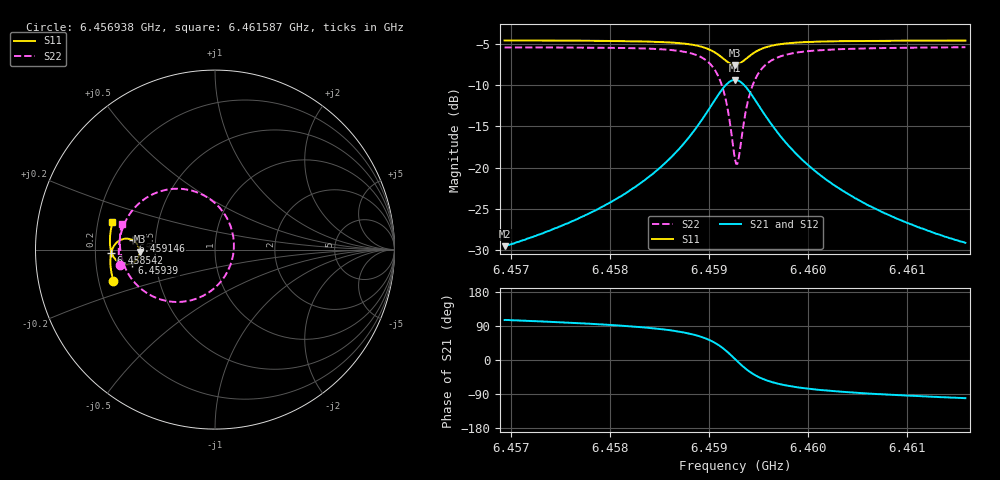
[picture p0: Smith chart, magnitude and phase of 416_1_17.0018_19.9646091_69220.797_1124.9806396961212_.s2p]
#  HZ  S  RI  R  50.00
! Rohde & Schwarz Vector Network Analyzer
! Rohde-Schwarz,ZNB20-2Port,1311601062101988,3.16
! Created: UTC 3/20/2024, 11:10:45 PM
! freq[Hz]  re:S11  im:S11  re:S21  im:S21  re:S12  im:S12  re:S22  im:S22
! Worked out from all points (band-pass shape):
!   401 points, 6.456938 GHz to 6.461587 GHz, reference 50 ohm
!   highest |S21| = -9.34 dB at 6.459263 GHz (marker M1); lowest = -29.6 dB at 6.456938 GHz (marker M2)
!   |S21| within 3 dB of the highest: 6.45903 GHz to 6.459495 GHz (465.1 kHz wide, 0.0072 % of centre)
!   lowest |S11| = -7.5 dB at 6.459263 GHz (marker M3), VSWR 2.45, Z = 20.4 - j0.544 ohm
!   |S11| at or under -10 dB: nowhere
!   |S22| runs from -19.6 to -5.4 dB; largest |S21 - S12| = 0.013
!   S11 on the Smith chart (normalised r, x): 6.456938 GHz: 0.26, -0.14; 6.458542 GHz: 0.27, -0.01; 6.459146 GHz: 0.37, +0.05; 6.45939 GHz: 0.37, -0.07; 6.461587 GHz: 0.26, +0.12
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6.4569377e9  -0.5658 -0.1752  -0.00888 0.032  -0.00738 0.0318  -0.5298 -0.088
6.4577165e9  -0.5803 -0.1073  -0.00576 0.0497  -0.00335 0.0492  -0.5361 0.00196
6.4581234e9  -0.5834 -0.067  -0.000592 0.0675  0.00265 0.0664  -0.5293 0.065
6.4584953e9  -0.5798 -0.0232  0.0135 0.0976  0.0174 0.0949  -0.5038 0.1467
6.4585418e9  -0.5785 -0.0168  0.0168 0.103  0.021 0.1  -0.4975 0.1598
6.4587511e9  -0.5664 0.015  0.0426 0.1344  0.0468 0.1297  -0.4495 0.2311
6.4589022e9  -0.5453 0.0413  0.0847 0.1644  0.0881 0.1579  -0.3721 0.2951
6.4590533e9  -0.4997 0.0609  0.1755 0.1836  0.1765 0.1761  -0.2062 0.3392
6.4591463e9  -0.4557 0.051  0.2643 0.1529  0.2646 0.1471  -0.0417 0.2904
6.4591928e9  -0.4347 0.0324  0.3077 0.1108  0.3088 0.1057  0.0405 0.2155
6.4592625e9  -0.4201 -0.011  0.3408 0.0154  0.3442 0.00843  0.1053 0.0387
6.4592741e9  -0.4205 -0.019  0.3407 -0.0023  0.3443 -0.00974  0.1051 0.00546
6.4592974e9  -0.4239 -0.0344  0.3353 -0.0365  0.3391 -0.0455  0.0945 -0.0595
6.4593904e9  -0.461 -0.0761  0.2661 -0.1365  0.2652 -0.1495  -0.0451 -0.2453
6.4594369e9  -0.4836 -0.0828  0.2222 -0.1588  0.2184 -0.1714  -0.1327 -0.2823
6.459495e9  -0.5084 -0.0819  0.1734 -0.1683  0.167 -0.1792  -0.2288 -0.2913
6.4596461e9  -0.5494 -0.0604  0.0912 -0.1524  0.0828 -0.1582  -0.385 -0.2387
6.4598088e9  -0.5695 -0.0328  0.0491 -0.125  0.0416 -0.1277  -0.4604 -0.1684
6.4600413e9  -0.5811 0.000811  0.0224 -0.096  0.0166 -0.0965  -0.5044 -0.0915
6.4603668e9  -0.5856 0.0394  0.00712 -0.071  0.00291 -0.0704  -0.5254 -0.0175
6.4608201e9  -0.5836 0.0849  -0.00135 -0.0512  -0.00416 -0.0504  -0.5301 0.0549
6.4615873e9  -0.5711 0.1526  -0.00648 -0.0343  -0.00815 -0.0332  -0.5188 0.1445
